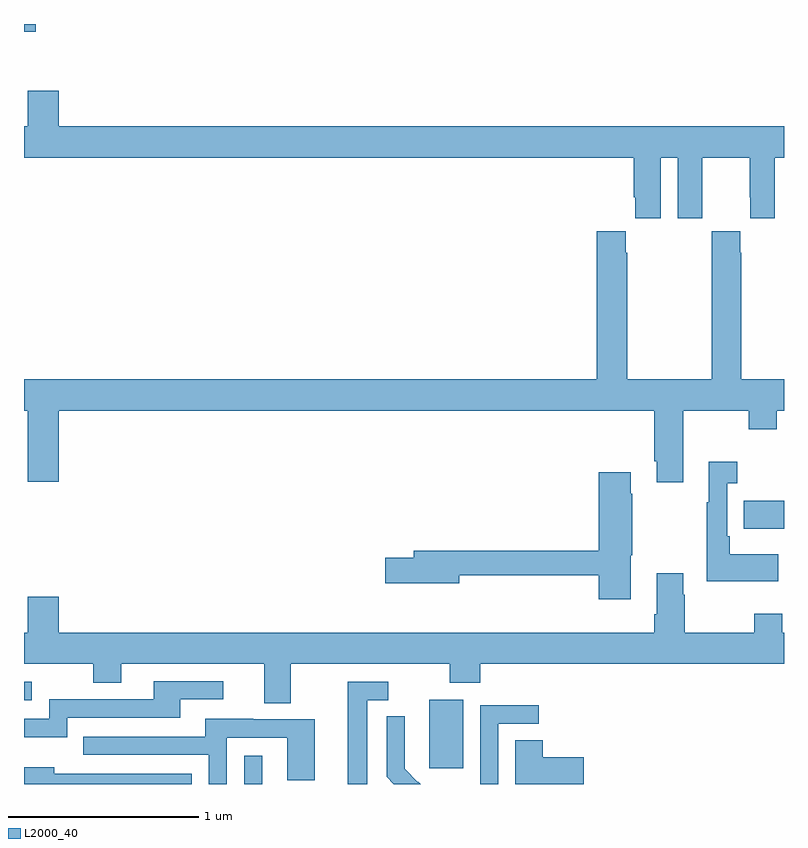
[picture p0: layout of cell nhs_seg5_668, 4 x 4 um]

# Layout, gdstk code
import gdstk
lib = gdstk.Library(unit=1e-6, precision=1e-09)
def R(c, l, rs):  # rectangles x0, y0, x1, y1
    for r in rs: c.add(gdstk.rectangle(r[:2], r[2:], *l))
def P(c, l, *ps):  # polygons
    for p in ps: c.add(gdstk.Polygon(p, *l))
L2000_40 = (2000, 40)

nhs_seg5_668 = lib.new_cell('nhs_seg5_668')
R(nhs_seg5_668, L2000_40, [(154.158,850.799,154.255,850.948), (155.132,850.881,155.311,851.242), (153,851.241,153.04,851.337), (156.787,852.143,157,852.291), (153,854.758,153.061,854.799)])
P(nhs_seg5_668, L2000_40, [(153.02,854.449),(153.02,854.26),(153,854.26),(153,854.096),(156.209,854.096),(156.209,853.888),(156.218,853.888),(156.218,853.776),(156.352,853.776),(156.352,854.096),(156.44,854.096),(156.44,853.776),(156.57,853.776),(156.57,853.888),(156.571,853.888),(156.571,854.096),(156.821,854.096),(156.821,853.888),(156.822,853.888),(156.822,853.776),(156.952,853.776),(156.952,854.096),(157,854.096),(157,854.26),(153.184,854.26),(153.184,854.449)],
  [(156.469,852.764),(156.814,852.764),(156.814,852.665),(156.961,852.665),(156.961,852.764),(157,852.764),(157,852.928),(156.774,852.928),(156.774,853.595),(156.771,853.595),(156.771,853.708),(156.621,853.708),(156.621,853.595),(156.619,853.595),(156.619,852.928),(156.174,852.928),(156.174,853.595),(156.167,853.595),(156.167,853.708),(156.014,853.708),(156.014,852.928),(153,852.928),(153,852.764),(153.02,852.764),(153.02,852.39),(153.184,852.39),(153.184,852.764),(156.317,852.764),(156.317,852.499),(156.329,852.499),(156.329,852.387),(156.469,852.387)],
  [(156.971,852.007),(156.715,852.007),(156.715,852.103),(156.702,852.103),(156.702,852.383),(156.754,852.383),(156.754,852.496),(156.605,852.496),(156.605,852.283),(156.594,852.283),(156.594,851.867),(156.971,851.867)],
  [(156.193,852.003),(156.201,852.003),(156.201,852.326),(156.193,852.326),(156.193,852.439),(156.026,852.439),(156.026,852.026),(155.051,852.026),(155.051,851.99),(154.902,851.99),(154.902,851.855),(155.29,851.855),(155.29,851.898),(156.026,851.898),(156.026,851.772),(156.193,851.772)],
  [(154.405,851.432),(155.242,851.432),(155.242,851.333),(155.402,851.333),(155.402,851.432),(157,851.432),(157,851.596),(156.99,851.596),(156.99,851.695),(156.844,851.695),(156.844,851.596),(156.477,851.596),(156.477,851.795),(156.469,851.795),(156.469,851.908),(156.329,851.908),(156.329,851.692),(156.317,851.692),(156.317,851.596),(153.184,851.596),(153.184,851.785),(153.02,851.785),(153.02,851.596),(153,851.596),(153,851.432),(153.364,851.432),(153.364,851.333),(153.511,851.333),(153.511,851.432),(154.265,851.432),(154.265,851.224),(154.405,851.224)],
  [(153.228,851.148),(153.823,851.148),(153.823,851.244),(154.048,851.244),(154.048,851.34),(153.683,851.34),(153.683,851.244),(153.132,851.244),(153.132,851.142),(153,851.142),(153,851.045),(153.228,851.045)],
  [(154.807,851.241),(154.918,851.241),(154.918,851.337),(154.703,851.337),(154.703,850.799),(154.807,850.799)],
  [(155.496,851.115),(155.71,851.115),(155.71,851.214),(155.4,851.214),(155.4,850.799),(155.496,850.799)],
  [(155.076,850.812),(155.073,850.809),(155.003,850.88),(155.003,851.002),(155.004,851.002),(155.004,851.156),(154.908,851.156),(154.908,850.838),(154.947,850.799),(155.089,850.799)],
  [(154.068,851.043),(154.386,851.043),(154.386,850.819),(154.531,850.819),(154.531,851.139),(154.207,851.139),(154.207,851.143),(153.953,851.143),(153.953,851.049),(153.313,851.049),(153.313,850.953),(153.972,850.953),(153.972,850.799),(154.068,850.799)],
  [(155.947,850.94),(155.729,850.94),(155.729,851.03),(155.585,851.03),(155.585,850.799),(155.947,850.799)],
  [(153.882,850.854),(153.158,850.854),(153.158,850.888),(153,850.888),(153,850.799),(153.882,850.799)])

lib.write_gds('nhs_seg5_668.gds')
